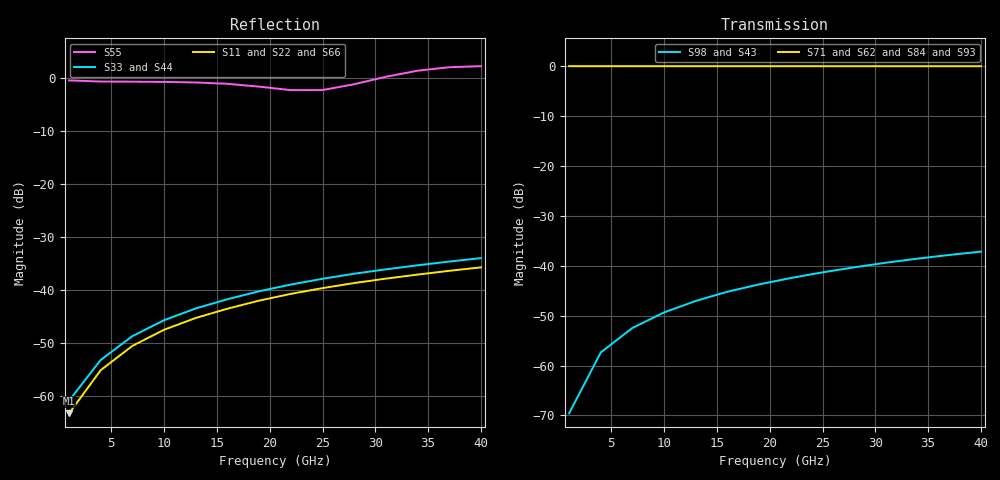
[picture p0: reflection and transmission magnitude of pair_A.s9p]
! Generated by circuitRF - EM: Full-wave planar
! circuitRF-EM setup: pair_A
! circuitRF-EM layout: PAIR/layout/PAIR.clay
! circuitRF-EM written: 2026-11-14 18:41:59Z
! circuitRF-EM stamp: 20261114T184159Z-ec001d28
! circuitRF-EM geometry: 2ea622475d6f7796
! circuitRF-EM mesh: 099879cdb6ab51d1
! circuitRF-EM ports: 7d9cc07e30d212c0
! circuitRF-EM model: grounded-edge-port-2026-10-14
! Port[1] = 1
! Port[2] = 2
! Port[3] = 3
! Port[4] = 4
! Port[5] = 5
! Port[6] = L1.LB
! Port[7] = L1.LA
! Port[8] = L2.LB
! Port[9] = L2.LA
! circuitRF-EM port 1: '1' on 'TopMetal1' at (-4.75, -31 um), edge, uncalibrated (not de-embedded), 50 Ohm
! circuitRF-EM port 2: '2' on 'TopMetal1' at (4.75, -31 um), edge, uncalibrated (not de-embedded), 50 Ohm
! circuitRF-EM port 3: '3' on 'TopMetal1' at (149.45, -31 um), edge, uncalibrated (not de-embedded), 50 Ohm
! circuitRF-EM port 4: '4' on 'TopMetal1' at (155.55, -31 um), edge, uncalibrated (not de-embedded), 50 Ohm
! circuitRF-EM port 5: '5' on 'TopMetal1' at (-100, 37.5 um), edge, uncalibrated (not de-embedded), 50 Ohm
! circuitRF-EM port 6: 'L1.LB' on 'TopMetal1' at (4.75, -1 um), edge, uncalibrated (not de-embedded), 50 Ohm
! circuitRF-EM port 7: 'L1.LA' on 'TopMetal1' at (-4.75, -1 um), edge, uncalibrated (not de-embedded), 50 Ohm
! circuitRF-EM port 8: 'L2.LB' on 'TopMetal1' at (155.55, -1 um), edge, uncalibrated (not de-embedded), 50 Ohm
! circuitRF-EM port 9: 'L2.LA' on 'TopMetal1' at (149.45, -1 um), edge, uncalibrated (not de-embedded), 50 Ohm
! circuitRF-EM: port N of this file is the label named on the 'port N' line above. A circuit that composes this result binds its nets in that order; two ports of a reciprocal part swapped gives a plausible curve of a different structure.
! circuitRF-EM caveat: 4 of these rows are NOT A PASSIVE NETWORK and should not be used: 31 GHz to 40 GHz, worst sigma_max(S) = 1.2818. A passive structure cannot exceed 1, so the excess is this analysis rather than the design. The de-embedding reports no error floor on this sweep, so it is not the 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
! circuitRF-EM: re-running the EM setup rewrites this file. If circuitRF reports it as stale, the layout's cross-section changed after this file was written.
# GHz S RI R 50
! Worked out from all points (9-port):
!   14 points, 1 GHz to 40 GHz, reference 50 ohm
!   strongest paths, dB at 1 GHz, 10 GHz, 22 GHz, 31 GHz, 40 GHz:
!     S71: 0.0, 0.0, 0.0, 0.0, 0.0
!     S62: 0.0, 0.0, 0.0, 0.0, 0.0
!     S84: 0.0, 0.0, 0.0, 0.0, 0.0
!     S93: 0.0, 0.0, 0.0, 0.0, 0.0
!     S98: -69.6, -49.4, -42.5, -39.4, -37.2
!     S43: -69.6, -49.4, -42.5, -39.4, -37.2
!   lowest |S11| = -63.3 dB at 1 GHz (marker M1), VSWR 1.00, Z = 50.1 + j0.0408 ohm
!   |S11| at or under -10 dB: start of sweep to end of sweep
